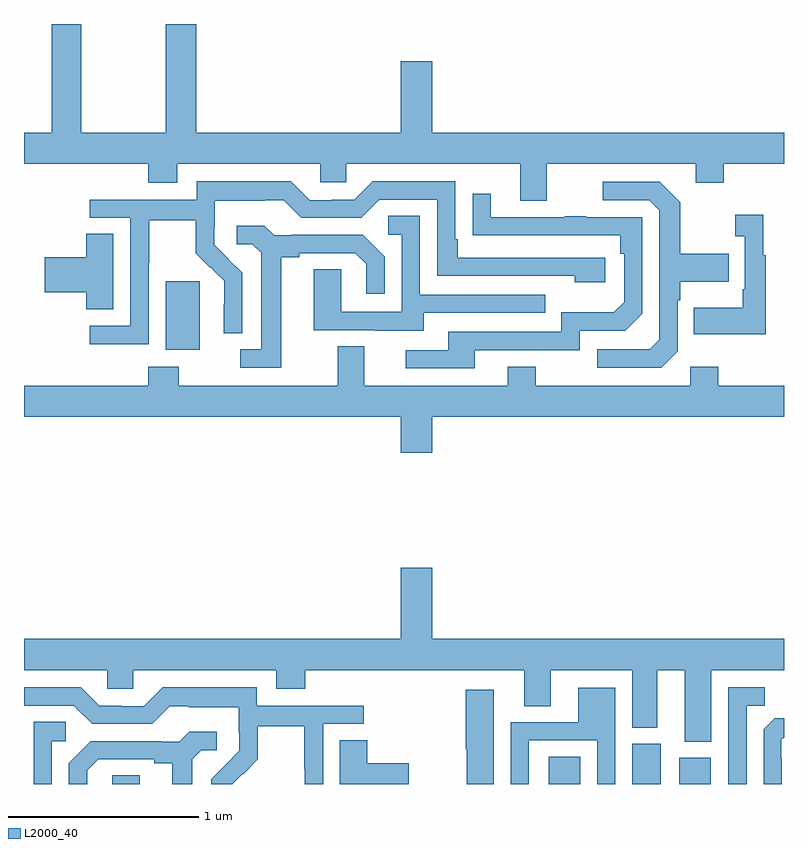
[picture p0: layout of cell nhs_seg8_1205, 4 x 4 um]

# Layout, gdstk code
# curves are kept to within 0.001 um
import gdstk
lib = gdstk.Library(unit=1e-6, precision=1e-09)
def R(c, l, rs):  # rectangles x0, y0, x1, y1
    for r in rs: c.add(gdstk.rectangle(r[:2], r[2:], *l))
def P(c, l, *ps):  # polygons
    for p in ps: c.add(gdstk.Polygon(p, *l))
L2000_40 = (2000, 40)

nhs_seg8_1205 = lib.new_cell('nhs_seg8_1205')
R(nhs_seg8_1205, L2000_40, [(187.464,1115.9,187.609,1115.945), (189.761,1115.9,189.928,1116.044), (190.202,1115.9,190.351,1116.111), (190.448,1115.9,190.615,1116.037), (187.745,1118.186,187.924,1118.547)])
P(nhs_seg8_1205, L2000_40, [(189.751,1119.164),(190.535,1119.164),(190.535,1119.065),(190.683,1119.065),(190.683,1119.164),(191,1119.164),(191,1119.328),(189.148,1119.328),(189.148,1119.703),(188.984,1119.703),(188.984,1119.328),(187.907,1119.328),(187.907,1119.9),(187.747,1119.9),(187.747,1119.328),(187.302,1119.328),(187.302,1119.9),(187.147,1119.9),(187.147,1119.328),(187,1119.328),(187,1119.164),(187.655,1119.164),(187.655,1119.065),(187.807,1119.065),(187.807,1119.164),(188.559,1119.164),(188.559,1119.066),(188.697,1119.066),(188.697,1119.164),(189.611,1119.164),(189.611,1118.97),(189.751,1118.97)],
  [(187.656,1118.644),(187.659,1118.644),(187.659,1118.868),(187.903,1118.868),(187.903,1118.693),(187.98,1118.616),(187.983,1118.619),(188.054,1118.549),(188.054,1118.426),(188.052,1118.426),(188.052,1118.272),(188.148,1118.272),(188.148,1118.59),(188.002,1118.738),(188.002,1118.835),(188.004,1118.835),(188.004,1118.969),(188.267,1118.969),(188.267,1118.973),(188.367,1118.973),(188.46,1118.88),(188.775,1118.88),(188.871,1118.976),(189.174,1118.976),(189.174,1118.574),(189.899,1118.574),(189.899,1118.54),(190.06,1118.54),(190.06,1118.67),(189.283,1118.67),(189.283,1118.767),(189.27,1118.767),(189.27,1119.072),(188.835,1119.072),(188.739,1118.976),(188.621,1118.976),(188.621,1118.973),(188.505,1118.973),(188.405,1119.073),(187.908,1119.073),(187.908,1118.976),(187.347,1118.976),(187.347,1118.88),(187.56,1118.88),(187.56,1118.313),(187.347,1118.313),(187.347,1118.215),(187.656,1118.215)],
  [(190.44,1118.178),(190.44,1118.447),(190.453,1118.447),(190.453,1118.543),(190.709,1118.543),(190.709,1118.691),(190.453,1118.691),(190.453,1118.963),(190.347,1119.069),(190.047,1119.069),(190.047,1118.973),(190.29,1118.973),(190.344,1118.919),(190.344,1118.238),(190.293,1118.187),(190.017,1118.187),(190.017,1118.091),(190.353,1118.091)],
  [(189.373,1118.184),(189.924,1118.184),(189.924,1118.286),(190.164,1118.286),(190.254,1118.376),(190.254,1118.883),(189.959,1118.883),(189.959,1118.888),(189.847,1118.888),(189.847,1118.883),(189.457,1118.883),(189.457,1119.007),(189.361,1119.007),(189.361,1118.788),(190.138,1118.787),(190.138,1118.69),(190.158,1118.69),(190.158,1118.436),(190.105,1118.383),(189.828,1118.383),(189.828,1118.28),(189.233,1118.28),(189.233,1118.184),(189.009,1118.184),(189.009,1118.088),(189.373,1118.088)],
  [(190.903,1118.683),(190.891,1118.683),(190.891,1118.896),(190.743,1118.896),(190.743,1118.783),(190.794,1118.783),(190.794,1118.503),(190.782,1118.503),(190.782,1118.407),(190.525,1118.407),(190.525,1118.267),(190.903,1118.267)],
  [(189.103,1118.379),(189.743,1118.379),(189.743,1118.475),(189.084,1118.475),(189.084,1118.891),(188.916,1118.891),(188.916,1118.79),(188.988,1118.79),(188.988,1118.385),(188.67,1118.385),(188.67,1118.609),(188.525,1118.609),(188.525,1118.289),(188.849,1118.289),(188.849,1118.285),(189.103,1118.285)],
  [(188.353,1118.672),(188.449,1118.672),(188.449,1118.694),(188.744,1118.694),(188.801,1118.637),(188.801,1118.481),(188.898,1118.481),(188.898,1118.674),(188.782,1118.79),(188.41,1118.79),(188.41,1118.787),(188.316,1118.787),(188.264,1118.839),(188.121,1118.839),(188.121,1118.742),(188.202,1118.742),(188.249,1118.695),(188.249,1118.187),(188.139,1118.187),(188.139,1118.091),(188.353,1118.091)],
  [(187.471,1118.795),(187.328,1118.795),(187.328,1118.672),(187.11,1118.672),(187.11,1118.489),(187.328,1118.489),(187.328,1118.398),(187.471,1118.398)],
  [(189.148,1117.832),(191,1117.832),(191,1117.996),(190.653,1117.996),(190.653,1118.095),(190.506,1118.095),(190.506,1117.996),(189.693,1117.996),(189.693,1118.095),(189.545,1118.095),(189.545,1117.996),(188.791,1117.996),(188.791,1118.204),(188.651,1118.204),(188.651,1117.996),(187.815,1117.996),(187.815,1118.095),(187.655,1118.095),(187.655,1117.996),(187,1117.996),(187,1117.832),(188.984,1117.832),(188.984,1117.644),(189.148,1117.644)],
  [(190.618,1116.5),(191,1116.5),(191,1116.664),(189.148,1116.664),(189.148,1117.039),(188.984,1117.039),(188.984,1116.664),(187,1116.664),(187,1116.5),(187.437,1116.5),(187.437,1116.402),(187.575,1116.402),(187.575,1116.5),(188.327,1116.5),(188.327,1116.401),(188.48,1116.401),(188.48,1116.5),(189.632,1116.5),(189.632,1116.31),(189.772,1116.31),(189.772,1116.5),(190.202,1116.5),(190.202,1116.196),(190.333,1116.196),(190.333,1116.5),(190.478,1116.5),(190.478,1116.122),(190.618,1116.122)],
  [(188.151,1115.955),(188.154,1115.952),(188.231,1116.029),(188.231,1116.204),(188.476,1116.204),(188.476,1115.98),(188.478,1115.98),(188.478,1115.9),(188.574,1115.9),(188.574,1116.216),(188.788,1116.216),(188.788,1116.312),(188.226,1116.312),(188.226,1116.409),(187.729,1116.409),(187.629,1116.309),(187.514,1116.309),(187.514,1116.312),(187.395,1116.312),(187.299,1116.408),(187,1116.408),(187,1116.312),(187.263,1116.312),(187.359,1116.216),(187.674,1116.216),(187.767,1116.309),(187.867,1116.309),(187.867,1116.305),(188.13,1116.305),(188.13,1116.171),(188.132,1116.171),(188.132,1116.074),(187.986,1115.926),(187.986,1115.9),(188.096,1115.9)],
  [(190.803,1116.313),(190.899,1116.313),(190.899,1116.408),(190.707,1116.408),(190.707,1115.9),(190.803,1115.9)],
  [(189.657,1116.129),(190.017,1116.129),(190.017,1115.9),(190.113,1115.9),(190.113,1116.406),(189.917,1116.406),(189.917,1116.225),(189.561,1116.225),(189.561,1115.9),(189.657,1115.9)],
  [(189.472,1116.397),(189.326,1116.397),(189.326,1116.084),(189.331,1116.084),(189.331,1115.9),(189.472,1115.9)],
  [(190.989,1116.032),(190.986,1116.032),(190.986,1116.132),(191,1116.146),(191,1116.247),(190.952,1116.247),(190.893,1116.188),(190.893,1115.9),(190.989,1115.9)],
  [(187.146,1116.126),(187.219,1116.126),(187.219,1116.227),(187.05,1116.227),(187.05,1115.9),(187.146,1115.9)],
  [(187.333,1115.973),(187.39,1116.03),(187.685,1116.03),(187.685,1116.008),(187.781,1116.008),(187.781,1115.9),(187.885,1115.9),(187.885,1116.031),(187.932,1116.078),(188.014,1116.078),(188.014,1116.175),(187.87,1116.175),(187.818,1116.123),(187.724,1116.123),(187.724,1116.126),(187.352,1116.126),(187.236,1116.01),(187.236,1115.9),(187.333,1115.9)],
  [(189.025,1116.008),(188.807,1116.008),(188.807,1116.131),(188.663,1116.131),(188.663,1115.9),(189.025,1115.9)])

lib.write_gds('nhs_seg8_1205.gds')
